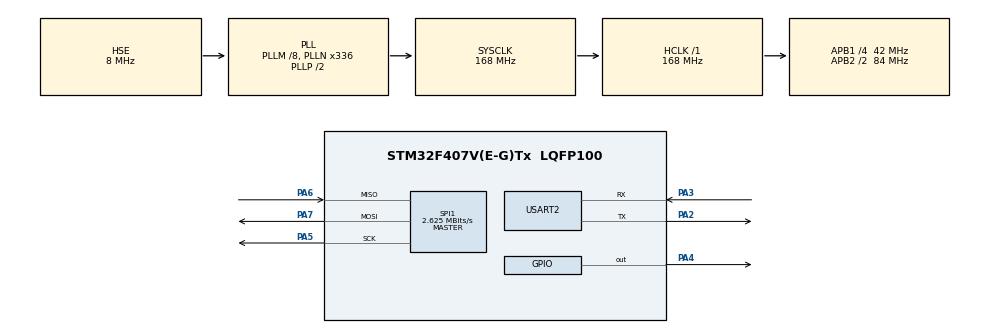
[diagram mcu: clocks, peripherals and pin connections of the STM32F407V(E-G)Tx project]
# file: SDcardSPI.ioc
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FATFS._CODE_PAGE=850
FATFS._MAX_SS=4096
FATFS._USE_LFN=0
Mcu.Family=STM32F4
Mcu.Name=STM32F407V(E-G)Tx
Mcu.Package=LQFP100
NVIC.PriorityGroup=NVIC_PRIORITYGROUP_0
PA13.Mode=Serial_Wire
PA13.Signal=SYS_JTMS-SWDIO
PA14.Mode=Serial_Wire
PA14.Signal=SYS_JTCK-SWCLK
PA2.Mode=Asynchronous
PA2.Signal=USART2_TX
PA3.Mode=Asynchronous
PA3.Signal=USART2_RX
PA4.Signal=GPIO_Output
PA5.Mode=Full_Duplex_Master
PA5.Signal=SPI1_SCK
PA6.Mode=Full_Duplex_Master
PA6.Signal=SPI1_MISO
PA7.Mode=Full_Duplex_Master
PA7.Signal=SPI1_MOSI
PH0-OSC_IN.Mode=HSE-External-Oscillator
PH0-OSC_IN.Signal=RCC_OSC_IN
PH1-OSC_OUT.Mode=HSE-External-Oscillator
PH1-OSC_OUT.Signal=RCC_OSC_OUT
ProjectManager.HeapSize=0x200
ProjectManager.StackSize=0x400
ProjectManager.TargetToolchain=STM32CubeIDE
RCC.48MHZClocksFreq_Value=48000000
RCC.AHBFreq_Value=168000000
RCC.APB1CLKDivider=RCC_HCLK_DIV4
RCC.APB1Freq_Value=42000000
RCC.APB1TimFreq_Value=84000000
RCC.APB2CLKDivider=RCC_HCLK_DIV2
RCC.APB2Freq_Value=84000000
RCC.APB2TimFreq_Value=168000000
RCC.CortexFreq_Value=168000000
RCC.HCLKFreq_Value=168000000
RCC.HSE_VALUE=8000000
RCC.HSI_VALUE=16000000
RCC.LSE_VALUE=32768
RCC.PLLM=8
RCC.PLLN=336
RCC.PLLQ=7
RCC.PLLSourceVirtual=RCC_PLLSOURCE_HSE
RCC.SYSCLKFreq_VALUE=168000000
RCC.SYSCLKSource=RCC_SYSCLKSOURCE_PLLCLK
RCC.VCOOutputFreq_Value=336000000
SPI1.BaudRatePrescaler=SPI_BAUDRATEPRESCALER_32
SPI1.CalculateBaudRate=2.625 MBits/s
SPI1.Direction=SPI_DIRECTION_2LINES
SPI1.Mode=SPI_MODE_MASTER
SPI1.VirtualType=VM_MASTER
USART2.VirtualMode=VM_ASYNC
VP_FATFS_VS_Generic.Mode=User_defined
board=STM32F407G-DISC1

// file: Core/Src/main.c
/* USER CODE BEGIN Header */
/**
  ******************************************************************************
  * @file           : main.c
  * @brief          : Main program body
  ******************************************************************************
  * @attention
  *
  * Copyright (c) 2023 STMicroelectronics.
  * All rights reserved.
  *
  * This software is licensed under terms that can be found in the LICENSE file
  * in the root directory of this software component.
  * If no LICENSE file comes with this software, it is provided AS-IS.
  *
  ******************************************************************************
  */
/* USER CODE END Header */
#include "main.h"
#include "fatfs.h"

/* USER CODE BEGIN Includes */
#include "fatfs_sd.h"
#include "string.h"
#include "stdio.h"
/* USER CODE END Includes */

/* USER CODE BEGIN PD */
FATFS fs;
FATFS *pfs;
FIL fil;
FRESULT fres;
DWORD fre_clust;
uint32_t totalSpace, freeSpace;
char buffer[100];
char buf[100];
/* USER CODE END PD */

SPI_HandleTypeDef hspi1;

UART_HandleTypeDef huart2;

void SystemClock_Config(void);
static void MX_GPIO_Init(void);
static void MX_SPI1_Init(void);
static void MX_USART2_UART_Init(void);

int main(void)
{

  /* MCU Configuration--------------------------------------------------------*/

  /* Reset of all peripherals, Initializes the Flash interface and the Systick. */
  HAL_Init();

  /* USER CODE BEGIN Init */
  void transmit_uart(char *string)
  {
  HAL_UART_Transmit(&huart2, (uint8_t*) string, strlen(string), 1000);
  }
  /* USER CODE END Init */

  /* Configure the system clock */
  SystemClock_Config();

  /* Initialize all configured peripherals */
  MX_GPIO_Init();
  MX_SPI1_Init();
  MX_FATFS_Init();
  MX_USART2_UART_Init();
  /* USER CODE BEGIN 2 */

	/* Wait for SD module reset */
	HAL_Delay(2000);

	/* Mount SD Card */
	fres = f_mount(&fs, "",0);
	if(fres == FR_OK)  {
		transmit_uart("Micro SD card is mounted successfully!\n");
	} else if (fres != FR_OK) {
		transmit_uart("Micro SD card's mount error!\n");
	}
	HAL_Delay(1000);
	/* Open file to write */
	fres = f_open(&fil, "first.txt", FA_OPEN_ALWAYS | FA_READ | FA_WRITE);
	if (fres == FR_OK) {
		transmit_uart("File opened for reading and checking the free space!\n");
	} else if (fres != FR_OK) {
		transmit_uart("File was not opened for reading and checking the free space!\n");
	}
	HAL_Delay(1000);
	/* Check freeSpace space */
	fres = f_getfree("", &fre_clust, &pfs);
	totalSpace = (uint32_t) (fre_clust * pfs->csize * 0.5);
	freeSpace = (uint32_t) (fre_clust * pfs->csize * 0.5);
	char mSz[12];
	sprintf(mSz,"%lu",freeSpace);
	if (fres == FR_OK) {
		transmit_uart("The free space is: ");
		transmit_uart(mSz);
		transmit_uart("\n");
	} else if (fres != FR_OK) {
		transmit_uart("The free space could not be determined\n");
	}
	HAL_Delay(1000);
	/* Writing text */
	f_puts("Calıstıgını gormek gurur verici\n", &fil);
	HAL_Delay(1000);
	/* Close file */
	fres = f_close(&fil);
	if (fres == FR_OK) {
		transmit_uart("The file is closed.\n");
	} else if (fres != FR_OK) {
		transmit_uart("The file was not closed!\n");
	}
	HAL_Delay(1000);
	/* Open file to read */
	 fres = f_open(&fil, "first.txt", FA_READ);
	 if (fres == FR_OK) {
		 transmit_uart("File opened for reading.\n");
	 } else if (fres != FR_OK) {
		 transmit_uart("File was not opened for reading!\n");
	 }

	 while (f_gets(buffer, sizeof(buffer), &fil)) {
		 char mRd[100];
		 sprintf(mRd, "%s", buffer);
		 transmit_uart(mRd);
	 }
	 HAL_Delay(1000);
	 /* Close file */
	 fres = f_close(&fil);
	 if (fres == FR_OK) {
		 transmit_uart("The file is closed.\n");
	 } else if (fres != FR_OK) {
		 transmit_uart("The file was not closed.\n");
	 }
	 HAL_Delay(1000);
	 f_mount(NULL, "", 1);
	 if (fres == FR_OK) {
		 transmit_uart("The Micro SD card is unmounted!\n");
	 } else if (fres != FR_OK) {
		 transmit_uart("The Micro SD was not unmounted!\n");
	 }

  /* USER CODE END 2 */

  /* Infinite loop */
  while (1)
  {

  }
}

void SystemClock_Config(void)
{
  RCC_OscInitTypeDef RCC_OscInitStruct = {0};
  RCC_ClkInitTypeDef RCC_ClkInitStruct = {0};

  /** Configure the main internal regulator output voltage
  */
  __HAL_RCC_PWR_CLK_ENABLE();
  __HAL_PWR_VOLTAGESCALING_CONFIG(PWR_REGULATOR_VOLTAGE_SCALE1);

  /** Initializes the RCC Oscillators according to the specified parameters
  * in the RCC_OscInitTypeDef structure.
  */
  RCC_OscInitStruct.OscillatorType = RCC_OSCILLATORTYPE_HSE;
  RCC_OscInitStruct.HSEState = RCC_HSE_ON;
  RCC_OscInitStruct.PLL.PLLState = RCC_PLL_ON;
  RCC_OscInitStruct.PLL.PLLSource = RCC_PLLSOURCE_HSE;
  RCC_OscInitStruct.PLL.PLLM = 8;
  RCC_OscInitStruct.PLL.PLLN = 336;
  RCC_OscInitStruct.PLL.PLLP = RCC_PLLP_DIV2;
  RCC_OscInitStruct.PLL.PLLQ = 7;
  if (HAL_RCC_OscConfig(&RCC_OscInitStruct) != HAL_OK)
  {
    Error_Handler();
  }

  /** Initializes the CPU, AHB and APB buses clocks
  */
  RCC_ClkInitStruct.ClockType = RCC_CLOCKTYPE_HCLK|RCC_CLOCKTYPE_SYSCLK
                              |RCC_CLOCKTYPE_PCLK1|RCC_CLOCKTYPE_PCLK2;
  RCC_ClkInitStruct.SYSCLKSource = RCC_SYSCLKSOURCE_PLLCLK;
  RCC_ClkInitStruct.AHBCLKDivider = RCC_SYSCLK_DIV1;
  RCC_ClkInitStruct.APB1CLKDivider = RCC_HCLK_DIV4;
  RCC_ClkInitStruct.APB2CLKDivider = RCC_HCLK_DIV2;

  if (HAL_RCC_ClockConfig(&RCC_ClkInitStruct, FLASH_LATENCY_5) != HAL_OK)
  {
    Error_Handler();
  }
}

static void MX_SPI1_Init(void)
{

  /* SPI1 parameter configuration*/
  hspi1.Instance = SPI1;
  hspi1.Init.Mode = SPI_MODE_MASTER;
  hspi1.Init.Direction = SPI_DIRECTION_2LINES;
  hspi1.Init.DataSize = SPI_DATASIZE_8BIT;
  hspi1.Init.CLKPolarity = SPI_POLARITY_LOW;
  hspi1.Init.CLKPhase = SPI_PHASE_1EDGE;
  hspi1.Init.NSS = SPI_NSS_SOFT;
  hspi1.Init.BaudRatePrescaler = SPI_BAUDRATEPRESCALER_32;
  hspi1.Init.FirstBit = SPI_FIRSTBIT_MSB;
  hspi1.Init.TIMode = SPI_TIMODE_DISABLE;
  hspi1.Init.CRCCalculation = SPI_CRCCALCULATION_DISABLE;
  hspi1.Init.CRCPolynomial = 10;
  if (HAL_SPI_Init(&hspi1) != HAL_OK)
  {
    Error_Handler();
  }

}

static void MX_USART2_UART_Init(void)
{

  huart2.Instance = USART2;
  huart2.Init.BaudRate = 115200;
  huart2.Init.WordLength = UART_WORDLENGTH_8B;
  huart2.Init.StopBits = UART_STOPBITS_1;
  huart2.Init.Parity = UART_PARITY_NONE;
  huart2.Init.Mode = UART_MODE_TX_RX;
  huart2.Init.HwFlowCtl = UART_HWCONTROL_NONE;
  huart2.Init.OverSampling = UART_OVERSAMPLING_16;
  if (HAL_UART_Init(&huart2) != HAL_OK)
  {
    Error_Handler();
  }

}

static void MX_GPIO_Init(void)
{
  GPIO_InitTypeDef GPIO_InitStruct = {0};

  /* GPIO Ports Clock Enable */
  __HAL_RCC_GPIOH_CLK_ENABLE();
  __HAL_RCC_GPIOA_CLK_ENABLE();

  /*Configure GPIO pin Output Level */
  HAL_GPIO_WritePin(GPIOA, GPIO_PIN_4, GPIO_PIN_RESET);

  /*Configure GPIO pin : PA4 */
  GPIO_InitStruct.Pin = GPIO_PIN_4;
  GPIO_InitStruct.Mode = GPIO_MODE_OUTPUT_PP;
  GPIO_InitStruct.Pull = GPIO_NOPULL;
  GPIO_InitStruct.Speed = GPIO_SPEED_FREQ_LOW;
  HAL_GPIO_Init(GPIOA, &GPIO_InitStruct);

}

void Error_Handler(void)
{
  __disable_irq();
  while (1)
  {
  }
}
